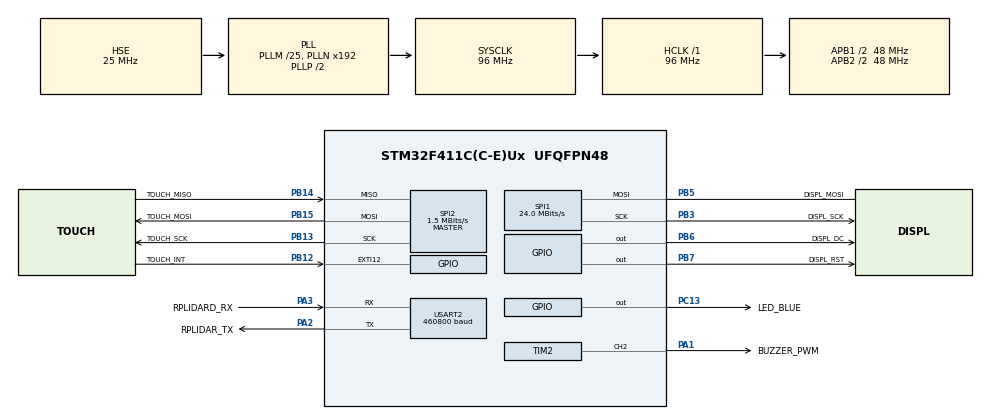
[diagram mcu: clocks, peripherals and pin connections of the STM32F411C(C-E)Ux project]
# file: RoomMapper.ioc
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Dma.Request0=SPI1_TX
Dma.Request1=USART2_RX
Dma.Request2=USART2_TX
Dma.SPI1_TX.0.Direction=DMA_MEMORY_TO_PERIPH
Dma.SPI1_TX.0.FIFOMode=DMA_FIFOMODE_DISABLE
Dma.SPI1_TX.0.Instance=DMA2_Stream3
Dma.SPI1_TX.0.MemDataAlignment=DMA_MDATAALIGN_BYTE
Dma.SPI1_TX.0.MemInc=DMA_MINC_ENABLE
Dma.SPI1_TX.0.Mode=DMA_NORMAL
Dma.SPI1_TX.0.PeriphDataAlignment=DMA_PDATAALIGN_BYTE
Dma.SPI1_TX.0.PeriphInc=DMA_PINC_DISABLE
Dma.SPI1_TX.0.Priority=DMA_PRIORITY_LOW
Dma.USART2_RX.1.Direction=DMA_PERIPH_TO_MEMORY
Dma.USART2_RX.1.FIFOMode=DMA_FIFOMODE_DISABLE
Dma.USART2_RX.1.Instance=DMA1_Stream5
Dma.USART2_RX.1.MemDataAlignment=DMA_MDATAALIGN_BYTE
Dma.USART2_RX.1.MemInc=DMA_MINC_ENABLE
Dma.USART2_RX.1.Mode=DMA_CIRCULAR
Dma.USART2_RX.1.PeriphDataAlignment=DMA_PDATAALIGN_BYTE
Dma.USART2_RX.1.PeriphInc=DMA_PINC_DISABLE
Dma.USART2_RX.1.Priority=DMA_PRIORITY_LOW
Dma.USART2_TX.2.Direction=DMA_MEMORY_TO_PERIPH
Dma.USART2_TX.2.FIFOMode=DMA_FIFOMODE_DISABLE
Dma.USART2_TX.2.Instance=DMA1_Stream6
Dma.USART2_TX.2.MemDataAlignment=DMA_MDATAALIGN_BYTE
Dma.USART2_TX.2.MemInc=DMA_MINC_ENABLE
Dma.USART2_TX.2.Mode=DMA_NORMAL
Dma.USART2_TX.2.PeriphDataAlignment=DMA_PDATAALIGN_BYTE
Dma.USART2_TX.2.PeriphInc=DMA_PINC_DISABLE
Dma.USART2_TX.2.Priority=DMA_PRIORITY_LOW
Mcu.Family=STM32F4
Mcu.Name=STM32F411C(C-E)Ux
Mcu.Package=UFQFPN48
NVIC.DMA1_Stream5_IRQn=true\:0\:0\:false\:false\:true\:false\:true\:true
NVIC.DMA1_Stream6_IRQn=true\:0\:0\:false\:false\:true\:false\:true\:true
NVIC.DMA2_Stream3_IRQn=true\:0\:0\:false\:false\:true\:false\:true\:true
NVIC.EXTI15_10_IRQn=true\:0\:0\:false\:false\:true\:true\:true\:true
NVIC.PriorityGroup=NVIC_PRIORITYGROUP_4
NVIC.TIM1_UP_TIM10_IRQn=true\:0\:0\:false\:false\:true\:true\:true\:true
NVIC.USART2_IRQn=true\:0\:0\:false\:false\:true\:true\:true\:true
PA0-WKUP.Mode=SYS_WakeUp0
PA0-WKUP.Signal=SYS_WKUP
PA1.GPIO_Label=BUZZER_PWM
PA1.GPIO_Speed=GPIO_SPEED_FREQ_VERY_HIGH
PA1.Signal=S_TIM2_CH2
PA13.Mode=Serial_Wire
PA13.Signal=SYS_JTMS-SWDIO
PA14.Mode=Serial_Wire
PA14.Signal=SYS_JTCK-SWCLK
PA2.GPIO_Label=RPLIDAR_TX
PA2.Mode=Asynchronous
PA2.Signal=USART2_TX
PA3.GPIO_Label=RPLIDARD_RX
PA3.Mode=Asynchronous
PA3.Signal=USART2_RX
PB12.GPIO_Label=TOUCH_INT
PB12.GPIO_ModeDefaultEXTI=GPIO_MODE_IT_FALLING
PB12.Signal=GPXTI12
PB13.GPIO_Label=TOUCH_SCK
PB13.Mode=Full_Duplex_Master
PB13.Signal=SPI2_SCK
PB14.GPIO_Label=TOUCH_MISO
PB14.Mode=Full_Duplex_Master
PB14.Signal=SPI2_MISO
PB15.GPIO_Label=TOUCH_MOSI
PB15.Mode=Full_Duplex_Master
PB15.Signal=SPI2_MOSI
PB3.GPIO_Label=DISPL_SCK
PB3.Mode=Simplex_Bidirectional_Master
PB3.Signal=SPI1_SCK
PB5.GPIO_Label=DISPL_MOSI
PB5.Mode=Simplex_Bidirectional_Master
PB5.Signal=SPI1_MOSI
PB6.GPIO_Label=DISPL_DC
PB6.GPIO_Speed=GPIO_SPEED_FREQ_VERY_HIGH
PB6.Signal=GPIO_Output
PB7.GPIO_Label=DISPL_RST
PB7.GPIO_Speed=GPIO_SPEED_FREQ_VERY_HIGH
PB7.Signal=GPIO_Output
PC13-ANTI_TAMP.GPIO_Label=LED_BLUE
PC13-ANTI_TAMP.Signal=GPIO_Output
PC14-OSC32_IN.Mode=LSE-External-Oscillator
PC14-OSC32_IN.Signal=RCC_OSC32_IN
PC15-OSC32_OUT.Mode=LSE-External-Oscillator
PC15-OSC32_OUT.Signal=RCC_OSC32_OUT
PH0\ -\ OSC_IN.Mode=HSE-External-Oscillator
PH0\ -\ OSC_IN.Signal=RCC_OSC_IN
PH1\ -\ OSC_OUT.Mode=HSE-External-Oscillator
PH1\ -\ OSC_OUT.Signal=RCC_OSC_OUT
ProjectManager.HeapSize=0x200
ProjectManager.StackSize=0x400
ProjectManager.TargetToolchain=STM32CubeIDE
RCC.48MHZClocksFreq_Value=48000000
RCC.AHBFreq_Value=96000000
RCC.APB1CLKDivider=RCC_HCLK_DIV2
RCC.APB1Freq_Value=48000000
RCC.APB1TimFreq_Value=96000000
RCC.APB2CLKDivider=RCC_HCLK_DIV2
RCC.APB2Freq_Value=48000000
RCC.APB2TimFreq_Value=96000000
RCC.CortexFreq_Value=96000000
RCC.HCLKFreq_Value=96000000
RCC.HSE_VALUE=25000000
RCC.HSI_VALUE=16000000
RCC.PLLM=25
RCC.PLLSourceVirtual=RCC_PLLSOURCE_HSE
RCC.SYSCLKFreq_VALUE=96000000
RCC.SYSCLKSource=RCC_SYSCLKSOURCE_PLLCLK
RCC.VCOOutputFreq_Value=192000000
SH.S_TIM2_CH2.0=TIM2_CH2,PWM Generation2 CH2
SPI1.BaudRatePrescaler=SPI_BAUDRATEPRESCALER_2
SPI1.CalculateBaudRate=24.0 MBits/s
SPI1.Direction=SPI_DIRECTION_1LINE
SPI1.Mode=SPI_MODE_MASTER
SPI1.VirtualType=VM_MASTER
SPI2.BaudRatePrescaler=SPI_BAUDRATEPRESCALER_32
SPI2.CalculateBaudRate=1.5 MBits/s
SPI2.Direction=SPI_DIRECTION_2LINES
SPI2.Mode=SPI_MODE_MASTER
SPI2.VirtualType=VM_MASTER
TIM1.CounterMode=TIM_COUNTERMODE_DOWN
TIM1.Prescaler=48000
TIM2.AutoReloadPreload=TIM_AUTORELOAD_PRELOAD_ENABLE
TIM2.Channel-PWM\ Generation2\ CH2=TIM_CHANNEL_2
TIM2.OC2Preload_PWM=ENABLE
TIM2.Period=1000
TIM2.Pulse-PWM\ Generation2\ CH2=500
USART2.BaudRate=460800
USART2.VirtualMode=VM_ASYNC
VP_TIM1_VS_ClockSourceINT.Mode=Internal
VP_TIM1_VS_OPM.Mode=OPM_bit
VP_TIM2_VS_ClockSourceINT.Mode=Internal
board=custom

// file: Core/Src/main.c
/* USER CODE BEGIN Header */
/**
 ******************************************************************************
 * @file           : main.c
 * @brief          : Main program body
 ******************************************************************************
 * @attention
 *
 * Copyright (c) 2025 STMicroelectronics.
 * All rights reserved.
 *
 * This software is licensed under terms that can be found in the LICENSE file
 * in the root directory of this software component.
 * If no LICENSE file comes with this software, it is provided AS-IS.
 *
 ******************************************************************************
 */
/* USER CODE END Header */
#include "main.h"

/* USER CODE BEGIN Includes */
#include <string.h>
#include <stdio.h>

#include "ILI9488.h"
#include "XPT2046.h"
#include "rplidar.h"
#include "buzzer.h"
#include "menu.h"
#include "map.h"
/* USER CODE END Includes */

SPI_HandleTypeDef hspi1;
SPI_HandleTypeDef hspi2;
DMA_HandleTypeDef hdma_spi1_tx;

TIM_HandleTypeDef htim1;
TIM_HandleTypeDef htim2;

UART_HandleTypeDef huart2;
DMA_HandleTypeDef hdma_usart2_rx;
DMA_HandleTypeDef hdma_usart2_tx;

void SystemClock_Config(void);
static void MX_GPIO_Init(void);
static void MX_DMA_Init(void);
static void MX_SPI1_Init(void);
static void MX_SPI2_Init(void);
static void MX_TIM2_Init(void);
static void MX_TIM1_Init(void);
static void MX_USART2_UART_Init(void);

int main(void)
{

    /* USER CODE BEGIN 1 */
    XPT2046_Config_t xpt2046_config = {.spi = &hspi2, .int_pin = TOUCH_INT_Pin, .int_irq = TOUCH_INT_EXTI_IRQn};
    ILI9488_Config_t ili9488_config = {.spi = &hspi1, .dc_port = DISPL_DC_GPIO_Port, .dc_pin = DISPL_DC_Pin, .rst_port =
    DISPL_RST_GPIO_Port, .rst_pin = DISPL_RST_Pin};
    /* USER CODE END 1 */

    /* MCU Configuration--------------------------------------------------------*/

    /* Reset of all peripherals, Initializes the Flash interface and the Systick. */
    HAL_Init();

    /* Configure the system clock */
    SystemClock_Config();

    /* Initialize all configured peripherals */
    MX_GPIO_Init();
    MX_DMA_Init();
    MX_SPI1_Init();
    MX_SPI2_Init();
    MX_TIM2_Init();
    MX_TIM1_Init();
    MX_USART2_UART_Init();
    /* USER CODE BEGIN 2 */
    RPLIDAR_Init(&huart2);
    ILI9488_Init(ili9488_config, ILI9488_Orientation_90);
    XPT2046_Init(xpt2046_config);
    Buzzer_Init(&htim2, TIM_CHANNEL_2, &htim1);
    Buzzer_Play_Boot();

    MENU_SetScreen(MENU_SCREEN_MAIN);
    /* USER CODE END 2 */

    /* Infinite loop */
    /* USER CODE BEGIN WHILE */
    while (1)
    {
        MENU_UpdateScreen();
        MENU_HandleTouch();

        /* USER CODE END WHILE */

    }
}

void SystemClock_Config(void)
{
    RCC_OscInitTypeDef RCC_OscInitStruct = {0};
    RCC_ClkInitTypeDef RCC_ClkInitStruct = {0};

    /** Configure the main internal regulator output voltage
     */
    __HAL_RCC_PWR_CLK_ENABLE();
    __HAL_PWR_VOLTAGESCALING_CONFIG(PWR_REGULATOR_VOLTAGE_SCALE1);

    /** Initializes the RCC Oscillators according to the specified parameters
     * in the RCC_OscInitTypeDef structure.
     */
    RCC_OscInitStruct.OscillatorType = RCC_OSCILLATORTYPE_HSE;
    RCC_OscInitStruct.HSEState = RCC_HSE_ON;
    RCC_OscInitStruct.PLL.PLLState = RCC_PLL_ON;
    RCC_OscInitStruct.PLL.PLLSource = RCC_PLLSOURCE_HSE;
    RCC_OscInitStruct.PLL.PLLM = 25;
    RCC_OscInitStruct.PLL.PLLN = 192;
    RCC_OscInitStruct.PLL.PLLP = RCC_PLLP_DIV2;
    RCC_OscInitStruct.PLL.PLLQ = 4;
    if (HAL_RCC_OscConfig(&RCC_OscInitStruct) != HAL_OK)
    {
        Error_Handler();
    }

    /** Initializes the CPU, AHB and APB buses clocks
     */
    RCC_ClkInitStruct.ClockType = RCC_CLOCKTYPE_HCLK | RCC_CLOCKTYPE_SYSCLK | RCC_CLOCKTYPE_PCLK1 | RCC_CLOCKTYPE_PCLK2;
    RCC_ClkInitStruct.SYSCLKSource = RCC_SYSCLKSOURCE_PLLCLK;
    RCC_ClkInitStruct.AHBCLKDivider = RCC_SYSCLK_DIV1;
    RCC_ClkInitStruct.APB1CLKDivider = RCC_HCLK_DIV2;
    RCC_ClkInitStruct.APB2CLKDivider = RCC_HCLK_DIV2;

    if (HAL_RCC_ClockConfig(&RCC_ClkInitStruct, FLASH_LATENCY_3) != HAL_OK)
    {
        Error_Handler();
    }
}

static void MX_SPI1_Init(void)
{

    /* SPI1 parameter configuration*/
    hspi1.Instance = SPI1;
    hspi1.Init.Mode = SPI_MODE_MASTER;
    hspi1.Init.Direction = SPI_DIRECTION_1LINE;
    hspi1.Init.DataSize = SPI_DATASIZE_8BIT;
    hspi1.Init.CLKPolarity = SPI_POLARITY_LOW;
    hspi1.Init.CLKPhase = SPI_PHASE_1EDGE;
    hspi1.Init.NSS = SPI_NSS_SOFT;
    hspi1.Init.BaudRatePrescaler = SPI_BAUDRATEPRESCALER_2;
    hspi1.Init.FirstBit = SPI_FIRSTBIT_MSB;
    hspi1.Init.TIMode = SPI_TIMODE_DISABLE;
    hspi1.Init.CRCCalculation = SPI_CRCCALCULATION_DISABLE;
    hspi1.Init.CRCPolynomial = 10;
    if (HAL_SPI_Init(&hspi1) != HAL_OK)
    {
        Error_Handler();
    }

}

static void MX_SPI2_Init(void)
{

    /* SPI2 parameter configuration*/
    hspi2.Instance = SPI2;
    hspi2.Init.Mode = SPI_MODE_MASTER;
    hspi2.Init.Direction = SPI_DIRECTION_2LINES;
    hspi2.Init.DataSize = SPI_DATASIZE_8BIT;
    hspi2.Init.CLKPolarity = SPI_POLARITY_LOW;
    hspi2.Init.CLKPhase = SPI_PHASE_1EDGE;
    hspi2.Init.NSS = SPI_NSS_SOFT;
    hspi2.Init.BaudRatePrescaler = SPI_BAUDRATEPRESCALER_32;
    hspi2.Init.FirstBit = SPI_FIRSTBIT_MSB;
    hspi2.Init.TIMode = SPI_TIMODE_DISABLE;
    hspi2.Init.CRCCalculation = SPI_CRCCALCULATION_DISABLE;
    hspi2.Init.CRCPolynomial = 10;
    if (HAL_SPI_Init(&hspi2) != HAL_OK)
    {
        Error_Handler();
    }

}

static void MX_TIM1_Init(void)
{

    TIM_ClockConfigTypeDef sClockSourceConfig = {0};
    TIM_MasterConfigTypeDef sMasterConfig = {0};

    htim1.Instance = TIM1;
    htim1.Init.Prescaler = 48000;
    htim1.Init.CounterMode = TIM_COUNTERMODE_DOWN;
    htim1.Init.Period = 65535;
    htim1.Init.ClockDivision = TIM_CLOCKDIVISION_DIV1;
    htim1.Init.RepetitionCounter = 0;
    htim1.Init.AutoReloadPreload = TIM_AUTORELOAD_PRELOAD_DISABLE;
    if (HAL_TIM_Base_Init(&htim1) != HAL_OK)
    {
        Error_Handler();
    }
    sClockSourceConfig.ClockSource = TIM_CLOCKSOURCE_INTERNAL;
    if (HAL_TIM_ConfigClockSource(&htim1, &sClockSourceConfig) != HAL_OK)
    {
        Error_Handler();
    }
    if (HAL_TIM_OnePulse_Init(&htim1, TIM_OPMODE_SINGLE) != HAL_OK)
    {
        Error_Handler();
    }
    sMasterConfig.MasterOutputTrigger = TIM_TRGO_RESET;
    sMasterConfig.MasterSlaveMode = TIM_MASTERSLAVEMODE_DISABLE;
    if (HAL_TIMEx_MasterConfigSynchronization(&htim1, &sMasterConfig) != HAL_OK)
    {
        Error_Handler();
    }

}

static void MX_TIM2_Init(void)
{

    TIM_ClockConfigTypeDef sClockSourceConfig = {0};
    TIM_MasterConfigTypeDef sMasterConfig = {0};
    TIM_OC_InitTypeDef sConfigOC = {0};

    htim2.Instance = TIM2;
    htim2.Init.Prescaler = 0;
    htim2.Init.CounterMode = TIM_COUNTERMODE_UP;
    htim2.Init.Period = 1000;
    htim2.Init.ClockDivision = TIM_CLOCKDIVISION_DIV1;
    htim2.Init.AutoReloadPreload = TIM_AUTORELOAD_PRELOAD_ENABLE;
    if (HAL_TIM_Base_Init(&htim2) != HAL_OK)
    {
        Error_Handler();
    }
    sClockSourceConfig.ClockSource = TIM_CLOCKSOURCE_INTERNAL;
    if (HAL_TIM_ConfigClockSource(&htim2, &sClockSourceConfig) != HAL_OK)
    {
        Error_Handler();
    }
    if (HAL_TIM_PWM_Init(&htim2) != HAL_OK)
    {
        Error_Handler();
    }
    sMasterConfig.MasterOutputTrigger = TIM_TRGO_RESET;
    sMasterConfig.MasterSlaveMode = TIM_MASTERSLAVEMODE_DISABLE;
    if (HAL_TIMEx_MasterConfigSynchronization(&htim2, &sMasterConfig) != HAL_OK)
    {
        Error_Handler();
    }
    sConfigOC.OCMode = TIM_OCMODE_PWM1;
    sConfigOC.Pulse = 500;
    sConfigOC.OCPolarity = TIM_OCPOLARITY_HIGH;
    sConfigOC.OCFastMode = TIM_OCFAST_DISABLE;
    if (HAL_TIM_PWM_ConfigChannel(&htim2, &sConfigOC, TIM_CHANNEL_2) != HAL_OK)
    {
        Error_Handler();
    }
    HAL_TIM_MspPostInit(&htim2);

}

static void MX_USART2_UART_Init(void)
{

    huart2.Instance = USART2;
    huart2.Init.BaudRate = 460800;
    huart2.Init.WordLength = UART_WORDLENGTH_8B;
    huart2.Init.StopBits = UART_STOPBITS_1;
    huart2.Init.Parity = UART_PARITY_NONE;
    huart2.Init.Mode = UART_MODE_TX_RX;
    huart2.Init.HwFlowCtl = UART_HWCONTROL_NONE;
    huart2.Init.OverSampling = UART_OVERSAMPLING_16;
    if (HAL_UART_Init(&huart2) != HAL_OK)
    {
        Error_Handler();
    }

}

static void MX_DMA_Init(void)
{

    /* DMA controller clock enable */
    __HAL_RCC_DMA2_CLK_ENABLE();
    __HAL_RCC_DMA1_CLK_ENABLE();

    /* DMA interrupt init */
    /* DMA1_Stream5_IRQn interrupt configuration */
    HAL_NVIC_SetPriority(DMA1_Stream5_IRQn, 0, 0);
    HAL_NVIC_EnableIRQ(DMA1_Stream5_IRQn);
    /* DMA1_Stream6_IRQn interrupt configuration */
    HAL_NVIC_SetPriority(DMA1_Stream6_IRQn, 0, 0);
    HAL_NVIC_EnableIRQ(DMA1_Stream6_IRQn);
    /* DMA2_Stream3_IRQn interrupt configuration */
    HAL_NVIC_SetPriority(DMA2_Stream3_IRQn, 0, 0);
    HAL_NVIC_EnableIRQ(DMA2_Stream3_IRQn);

}

static void MX_GPIO_Init(void)
{
    GPIO_InitTypeDef GPIO_InitStruct = {0};

    /* GPIO Ports Clock Enable */
    __HAL_RCC_GPIOC_CLK_ENABLE();
    __HAL_RCC_GPIOH_CLK_ENABLE();
    __HAL_RCC_GPIOA_CLK_ENABLE();
    __HAL_RCC_GPIOB_CLK_ENABLE();

    /*Configure GPIO pin Output Level */
    HAL_GPIO_WritePin(LED_BLUE_GPIO_Port, LED_BLUE_Pin, GPIO_PIN_RESET);

    /*Configure GPIO pin Output Level */
    HAL_GPIO_WritePin(GPIOB, DISPL_DC_Pin | DISPL_RST_Pin, GPIO_PIN_RESET);

    /*Configure GPIO pin : LED_BLUE_Pin */
    GPIO_InitStruct.Pin = LED_BLUE_Pin;
    GPIO_InitStruct.Mode = GPIO_MODE_OUTPUT_PP;
    GPIO_InitStruct.Pull = GPIO_NOPULL;
    GPIO_InitStruct.Speed = GPIO_SPEED_FREQ_LOW;
    HAL_GPIO_Init(LED_BLUE_GPIO_Port, &GPIO_InitStruct);

    /*Configure GPIO pin : TOUCH_INT_Pin */
    GPIO_InitStruct.Pin = TOUCH_INT_Pin;
    GPIO_InitStruct.Mode = GPIO_MODE_IT_FALLING;
    GPIO_InitStruct.Pull = GPIO_NOPULL;
    HAL_GPIO_Init(TOUCH_INT_GPIO_Port, &GPIO_InitStruct);

    /*Configure GPIO pins : DISPL_DC_Pin DISPL_RST_Pin */
    GPIO_InitStruct.Pin = DISPL_DC_Pin | DISPL_RST_Pin;
    GPIO_InitStruct.Mode = GPIO_MODE_OUTPUT_PP;
    GPIO_InitStruct.Pull = GPIO_NOPULL;
    GPIO_InitStruct.Speed = GPIO_SPEED_FREQ_VERY_HIGH;
    HAL_GPIO_Init(GPIOB, &GPIO_InitStruct);

    /* EXTI interrupt init*/
    HAL_NVIC_SetPriority(EXTI15_10_IRQn, 0, 0);
    HAL_NVIC_EnableIRQ(EXTI15_10_IRQn);

}

void Error_Handler(void)
{
    __disable_irq();
    while (1)
    {
    }
}
